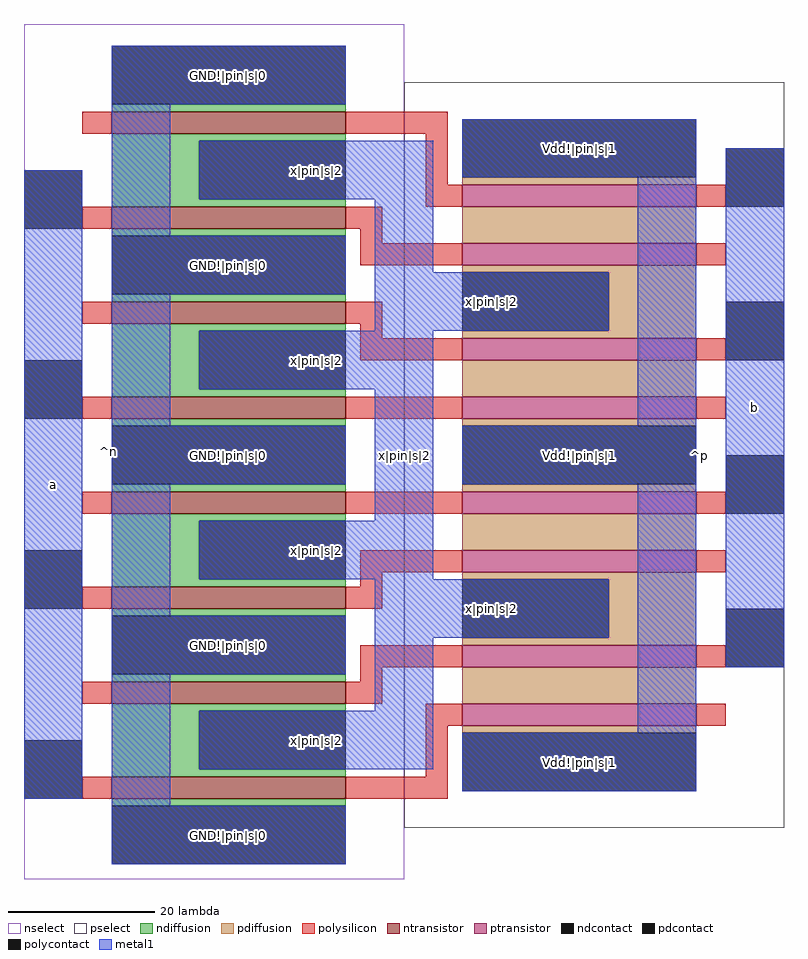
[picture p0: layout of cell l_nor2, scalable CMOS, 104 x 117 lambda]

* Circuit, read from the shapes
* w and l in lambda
.subckt l_nor2 GND!|pin|s|0 Vdd!|pin|s|1 a b x|pin|s|2
M1 x|pin|s|2 a GND!|pin|s|0 VSUBS nfet w=32 l=3 m=4
M2 GND!|pin|s|0 b x|pin|s|2 VSUBS nfet w=32 l=3 m=4
M3 n1 a Vdd!|pin|s|1 NWELL pfet w=32 l=3
M4 x|pin|s|2 b n1 NWELL pfet w=32 l=3
M5 n2 a x|pin|s|2 NWELL pfet w=32 l=3
M6 Vdd!|pin|s|1 b n2 NWELL pfet w=32 l=3
M7 n3 a Vdd!|pin|s|1 NWELL pfet w=32 l=3
M8 x|pin|s|2 b n3 NWELL pfet w=32 l=3
M9 n4 a x|pin|s|2 NWELL pfet w=32 l=3
M10 Vdd!|pin|s|1 b n4 NWELL pfet w=32 l=3
.ends

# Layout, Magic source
magic
tech scmos
<< nselect >>
rect -52 555 0 672
<< pselect >>
rect 0 562 52 664
<< ndiffusion >>
rect -40 660 -8 661
rect -40 656 -8 657
rect -40 648 -28 656
rect -40 647 -8 648
rect -40 643 -8 644
rect -40 634 -8 635
rect -40 630 -8 631
rect -40 622 -28 630
rect -40 621 -8 622
rect -40 617 -8 618
rect -40 608 -8 609
rect -40 604 -8 605
rect -40 596 -28 604
rect -40 595 -8 596
rect -40 591 -8 592
rect -40 582 -8 583
rect -40 578 -8 579
rect -40 570 -28 578
rect -40 569 -8 570
rect -40 565 -8 566
<< pdiffusion >>
rect 8 650 40 651
rect 8 642 40 647
rect 8 638 40 639
rect 28 630 40 638
rect 8 629 40 630
rect 8 621 40 626
rect 8 617 40 618
rect 8 608 40 609
rect 8 600 40 605
rect 8 596 40 597
rect 28 588 40 596
rect 8 587 40 588
rect 8 579 40 584
rect 8 575 40 576
<< ntransistor >>
rect -40 657 -8 660
rect -40 644 -8 647
rect -40 631 -8 634
rect -40 618 -8 621
rect -40 605 -8 608
rect -40 592 -8 595
rect -40 579 -8 582
rect -40 566 -8 569
<< ptransistor >>
rect 8 647 40 650
rect 8 639 40 642
rect 8 626 40 629
rect 8 618 40 621
rect 8 605 40 608
rect 8 597 40 600
rect 8 584 40 587
rect 8 576 40 579
<< polysilicon >>
rect -44 657 -40 660
rect -8 657 6 660
rect 3 650 6 657
rect 3 647 8 650
rect 40 647 44 650
rect -44 644 -40 647
rect -8 644 -3 647
rect -6 642 -3 644
rect -6 639 8 642
rect 40 639 44 642
rect -44 631 -40 634
rect -8 631 -3 634
rect -6 629 -3 631
rect -6 626 8 629
rect 40 626 44 629
rect -44 618 -40 621
rect -8 618 8 621
rect 40 618 44 621
rect -44 605 -40 608
rect -8 605 8 608
rect 40 605 44 608
rect -6 597 8 600
rect 40 597 44 600
rect -6 595 -3 597
rect -44 592 -40 595
rect -8 592 -3 595
rect -6 584 8 587
rect 40 584 44 587
rect -6 582 -3 584
rect -44 579 -40 582
rect -8 579 -3 582
rect 3 576 8 579
rect 40 576 44 579
rect 3 569 6 576
rect -44 566 -40 569
rect -8 566 6 569
<< ndcontact >>
rect -40 661 -8 669
rect -28 648 -8 656
rect -40 635 -8 643
rect -28 622 -8 630
rect -40 609 -8 617
rect -28 596 -8 604
rect -40 583 -8 591
rect -28 570 -8 578
rect -40 557 -8 565
<< pdcontact >>
rect 8 651 40 659
rect 8 630 28 638
rect 8 609 40 617
rect 8 588 28 596
rect 8 567 40 575
<< polycontact >>
rect -52 644 -44 652
rect 44 647 52 655
rect -52 618 -44 626
rect 44 626 52 634
rect 44 605 52 613
rect -52 592 -44 600
rect 44 584 52 592
rect -52 566 -44 574
<< metal1 >>
rect -40 661 -8 669
rect -52 566 -44 652
rect -40 643 -32 661
rect -28 648 4 656
rect 8 651 40 659
rect -40 635 -8 643
rect -4 638 4 648
rect -40 617 -32 635
rect -4 630 28 638
rect -28 622 4 630
rect -40 609 -8 617
rect -40 591 -32 609
rect -4 604 4 622
rect 32 617 40 651
rect 8 609 40 617
rect -28 596 4 604
rect -40 583 -8 591
rect -4 588 28 596
rect -40 565 -32 583
rect -4 578 4 588
rect -28 570 4 578
rect 32 575 40 609
rect 44 584 52 655
rect 8 567 40 575
rect -40 557 -8 565
<< labels >>
rlabel metal1 -52 566 -44 652 1 a
rlabel metal1 44 584 52 655 7 b
rlabel space -53 555 -28 672 7 ^n
rlabel space 28 562 53 664 3 ^p
rlabel metal1 -40 635 -8 643 1 GND!|pin|s|0
rlabel metal1 -40 583 -8 591 1 GND!|pin|s|0
rlabel metal1 -40 557 -32 669 1 GND!|pin|s|0
rlabel metal1 8 651 40 659 1 Vdd!|pin|s|1
rlabel metal1 8 567 40 575 1 Vdd!|pin|s|1
rlabel metal1 32 567 40 659 1 Vdd!|pin|s|1
rlabel metal1 -4 570 4 656 1 x|pin|s|2
rlabel metal1 -28 648 4 656 1 x|pin|s|2
rlabel metal1 -4 630 28 638 1 x|pin|s|2
rlabel metal1 -28 622 4 630 1 x|pin|s|2
rlabel metal1 -28 596 4 604 1 x|pin|s|2
rlabel metal1 -28 570 4 578 1 x|pin|s|2
rlabel metal1 -4 588 28 596 1 x|pin|s|2
rlabel metal1 -40 661 -8 669 1 GND!|pin|s|0
rlabel metal1 -40 609 -8 617 1 GND!|pin|s|0
rlabel metal1 -40 557 -8 565 1 GND!|pin|s|0
rlabel metal1 8 609 40 617 1 Vdd!|pin|s|1
<< end >>
